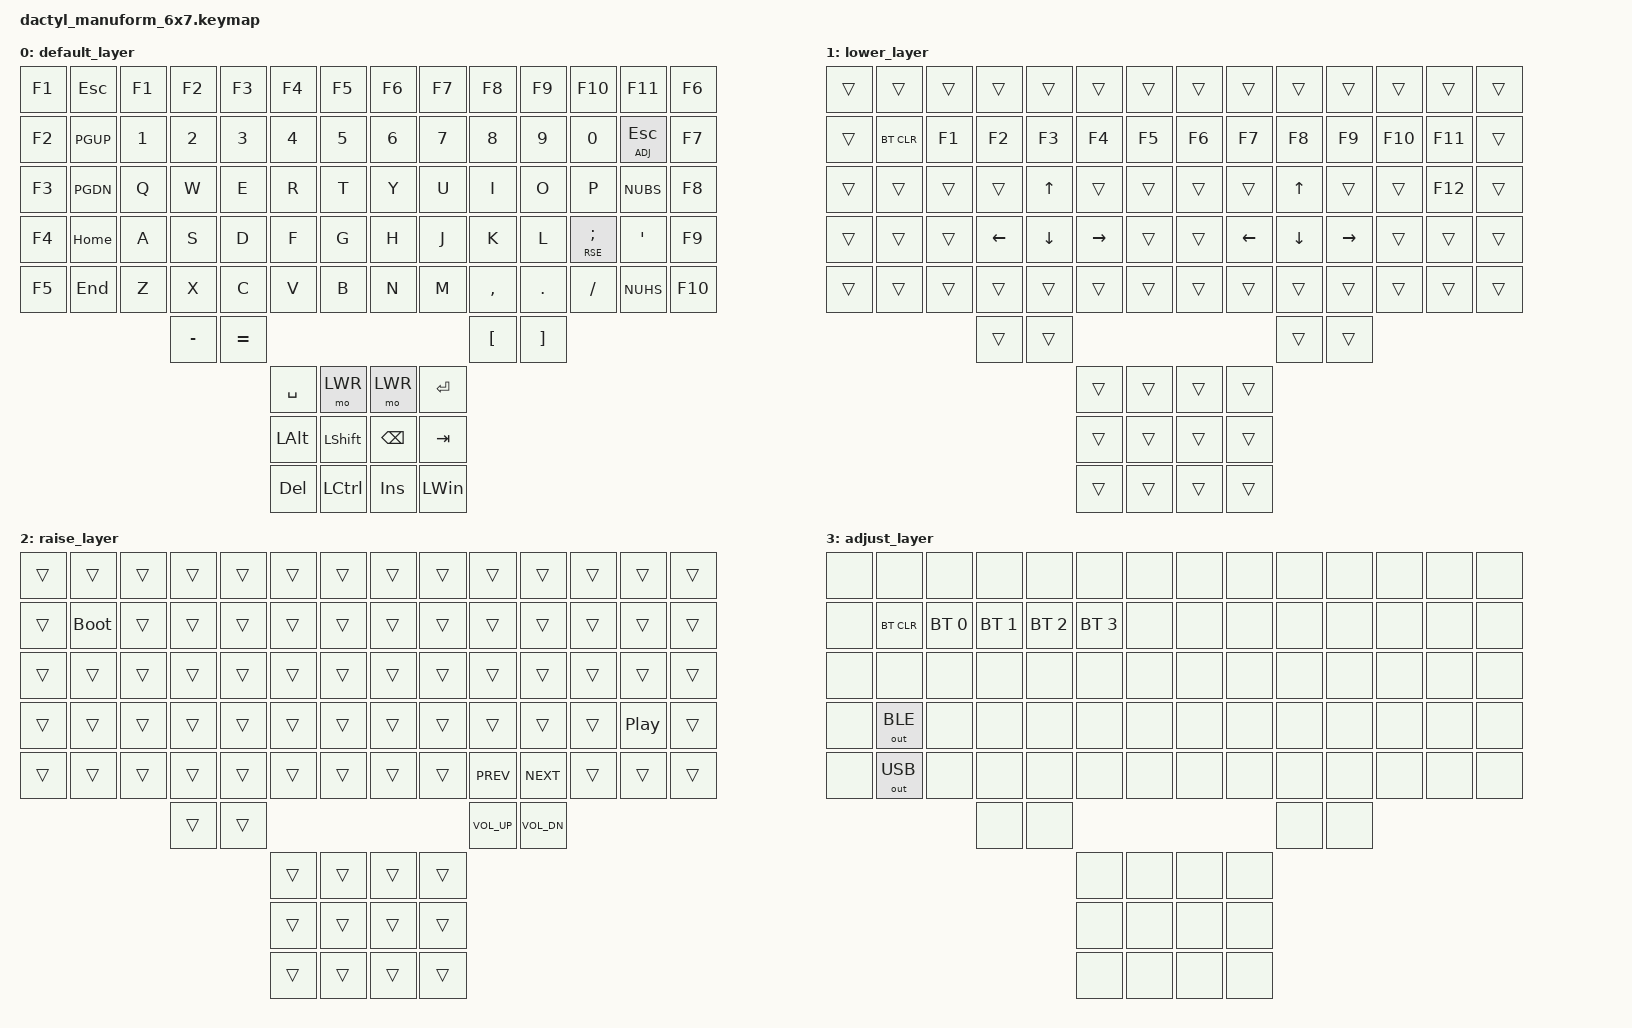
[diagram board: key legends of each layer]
#include <behaviors.dtsi>
#include <dt-bindings/zmk/keys.h>
#include <dt-bindings/zmk/bt.h>
#include <dt-bindings/zmk/outputs.h>

#define DEFAULT 0
#define LWR 1
#define RSE 2
#define ADJ 3

&lt {
    tapping-term-ms = <500>;
};
/ {
    keymap {
        compatible = "zmk,keymap";

        default_layer { // layer 0
            bindings = <
                &kp F1  &kp ESC   &kp F1    &kp F2    &kp F3    &kp F4    &kp F5            &kp F6   &kp F7   &kp F8    &kp F9  &kp F10      &kp F11     &kp F6
                &kp F2  &kp PGUP  &kp N1    &kp N2    &kp N3    &kp N4    &kp N5            &kp N6   &kp N7   &kp N8    &kp N9  &kp N0       &lt ADJ ESC &kp F7
                &kp F3  &kp PGDN  &kp Q     &kp W     &kp E     &kp R     &kp T             &kp Y    &kp U    &kp I     &kp O   &kp P        &kp NUBS    &kp F8
                &kp F4  &kp HOME  &kp A     &kp S     &kp D     &kp F     &kp G             &kp H    &kp J    &kp K     &kp L   &lt RSE SEMI &kp APOS    &kp F9
                &kp F5  &kp END   &kp Z     &kp X     &kp C     &kp V     &kp B             &kp N    &kp M    &kp COMMA &kp DOT &kp FSLH     &kp NUHS    &kp F10
                                            &kp MINUS &kp EQUAL                                               &kp LBKT &kp RBKT
                                                                &kp SPACE &mo LWR           &mo LWR  &kp RET
                                                                &kp LALT  &kp LSHIFT        &kp BSPC &kp TAB
                                                                &kp DEL   &kp LCTRL         &kp INS  &kp LWIN
            >;
        };

        lower_layer {
            bindings = <
                &trans &trans      &trans &trans   &trans   &trans    &trans                &trans &trans   &trans   &trans    &trans  &trans  &trans 
                &trans &bt BT_CLR  &kp F1 &kp F2   &kp F3   &kp F4    &kp F5                &kp F6 &kp F7   &kp F8   &kp F9    &kp F10 &kp F11 &trans 
                &trans &trans      &trans &trans   &kp UP   &trans    &trans                &trans &trans   &kp UP   &trans    &trans  &kp F12 &trans 
                &trans &trans      &trans &kp LEFT &kp DOWN &kp RIGHT &trans                &trans &kp LEFT &kp DOWN &kp RIGHT &trans  &trans  &trans 
                &trans &trans      &trans &trans   &trans   &trans    &trans                &trans &trans   &trans   &trans    &trans  &trans  &trans 
                                          &trans   &trans                                                   &trans   &trans
                                                            &trans    &trans                &trans &trans
                                                            &trans    &trans                &trans &trans
                                                            &trans    &trans                &trans &trans
            >;
        };

        raise_layer {
            bindings = <
                &trans &trans      &trans &trans &trans &trans &trans                &trans &trans &trans       &trans       &trans &trans   &trans 
                &trans &bootloader &trans &trans &trans &trans &trans                &trans &trans &trans       &trans       &trans &trans   &trans
                &trans &trans      &trans &trans &trans &trans &trans                &trans &trans &trans       &trans       &trans &trans   &trans
                &trans &trans      &trans &trans &trans &trans &trans                &trans &trans &trans       &trans       &trans &kp C_PP &trans
                &trans &trans      &trans &trans &trans &trans &trans                &trans &trans &kp C_PREV   &kp C_NEXT   &trans &trans   &trans
                                          &trans &trans                                            &kp C_VOL_UP &kp C_VOL_DN
                                                        &trans &trans                &trans &trans
                                                        &trans &trans                &trans &trans
                                                        &trans &trans                &trans &trans
            >;
        };

        adjust_layer {
            bindings = <
                &none &none        &none        &none        &none        &none         &none             &none &none &none &none &none &none &none
                &none &bt BT_CLR   &bt BT_SEL 0 &bt BT_SEL 1 &bt BT_SEL 2 &bt BT_SEL 3  &none             &none &none &none &none &none &none &none
                &none &none        &none        &none        &none        &none         &none             &none &none &none &none &none &none &none
                &none &out OUT_BLE &none        &none        &none        &none         &none             &none &none &none &none &none &none &none
                &none &out OUT_USB &none        &none        &none        &none         &none             &none &none &none &none &none &none &none
                                                &none        &none                                                    &none &none
                                                                          &none         &none             &none &none
                                                                          &none         &none             &none &none
                                                                          &none         &none             &none &none
            >;
        };
    };
};
